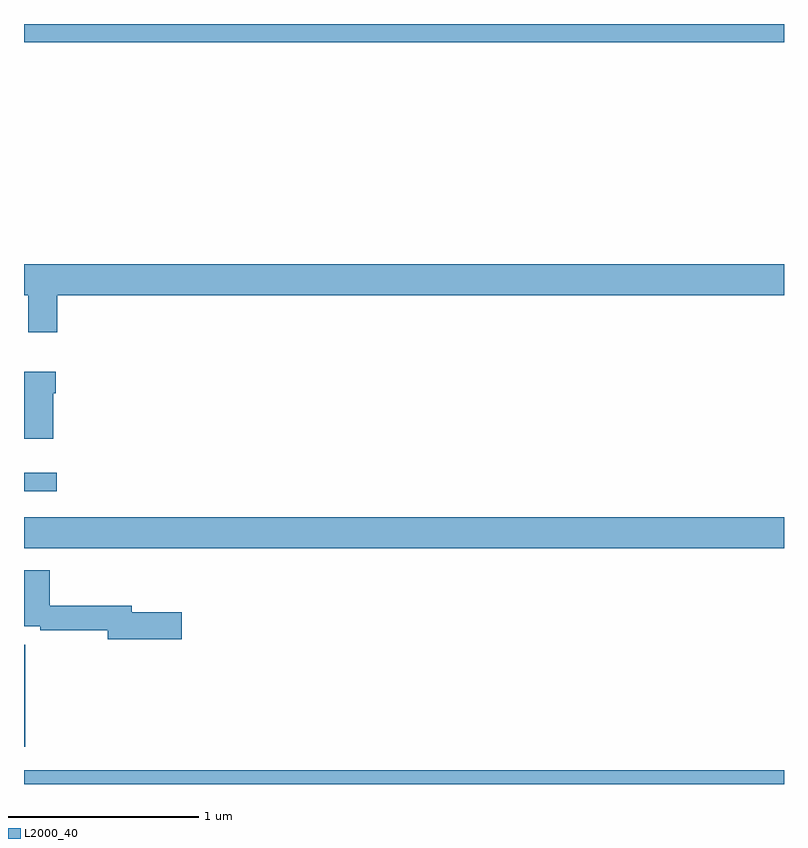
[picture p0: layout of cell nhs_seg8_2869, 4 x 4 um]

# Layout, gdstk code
import gdstk
lib = gdstk.Library(unit=1e-6, precision=1e-09)
def R(c, l, rs):  # rectangles x0, y0, x1, y1
    for r in rs: c.add(gdstk.rectangle(r[:2], r[2:], *l))
def P(c, l, *ps):  # polygons
    for p in ps: c.add(gdstk.Polygon(p, *l))
L2000_40 = (2000, 40)

nhs_seg8_2869 = lib.new_cell('nhs_seg8_2869')
R(nhs_seg8_2869, L2000_40, [(291,1141.9,295,1141.972), (291,1142.097,291.007,1142.633), (291,1143.14,295,1143.304), (291,1143.44,291.172,1143.537), (291,1145.804,295,1145.9)])
P(nhs_seg8_2869, L2000_40, [(291.176,1144.472),(295,1144.472),(295,1144.636),(291,1144.636),(291,1144.472),(291.023,1144.472),(291.023,1144.278),(291.176,1144.278)],
  [(291.154,1143.956),(291.167,1143.956),(291.167,1144.069),(291,1144.069),(291,1143.716),(291.154,1143.716)],
  [(291.829,1142.805),(291.568,1142.805),(291.568,1142.839),(291.136,1142.839),(291.136,1143.025),(291,1143.025),(291,1142.73),(291.085,1142.73),(291.085,1142.71),(291.44,1142.71),(291.44,1142.663),(291.829,1142.663)])

lib.write_gds('nhs_seg8_2869.gds')
